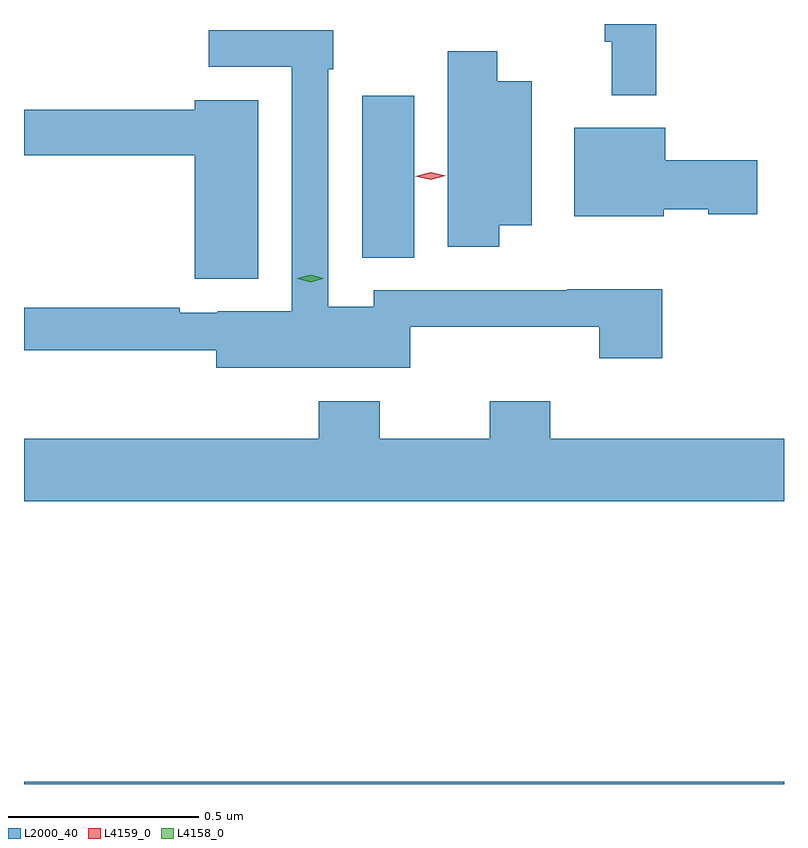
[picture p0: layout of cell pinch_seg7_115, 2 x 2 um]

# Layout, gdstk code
import gdstk
lib = gdstk.Library(unit=1e-6, precision=1e-09)
def R(c, l, rs):  # rectangles x0, y0, x1, y1
    for r in rs: c.add(gdstk.rectangle(r[:2], r[2:], *l))
def P(c, l, *ps):  # polygons
    for p in ps: c.add(gdstk.Polygon(p, *l))
L2000_40 = (2000, 40)
L4158_0 = (4158, 0)
L4159_0 = (4159, 0)

pinch_seg7_115 = lib.new_cell('pinch_seg7_115')
R(pinch_seg7_115, L2000_40, [(923.043,999.872,925.043,999.878), (923.933,1001.257,924.07,1001.683)])
P(pinch_seg7_115, L2000_40, [(924.707,1001.872),(924.571,1001.872),(924.571,1001.825),(924.59,1001.825),(924.59,1001.685),(924.707,1001.685)],
  [(924.06,1001.075),(924.557,1001.075),(924.557,1000.992),(924.722,1000.992),(924.722,1001.174),(924.473,1001.174),(924.473,1001.172),(923.964,1001.172),(923.964,1001.128),(923.844,1001.128),(923.844,1001.753),(923.857,1001.753),(923.857,1001.856),(923.529,1001.856),(923.529,1001.76),(923.748,1001.76),(923.748,1001.116),(923.553,1001.116),(923.553,1001.112),(923.453,1001.112),(923.453,1001.125),(923.043,1001.125),(923.043,1001.014),(923.549,1001.014),(923.549,1000.967),(924.06,1000.967)],
  [(924.293,1001.342),(924.379,1001.342),(924.379,1001.722),(924.288,1001.722),(924.288,1001.8),(924.158,1001.8),(924.158,1001.286),(924.293,1001.286)],
  [(923.659,1001.671),(923.492,1001.671),(923.492,1001.647),(923.043,1001.647),(923.043,1001.526),(923.492,1001.526),(923.492,1001.201),(923.659,1001.201)],
  [(924.726,1001.384),(924.843,1001.384),(924.843,1001.372),(924.973,1001.372),(924.973,1001.514),(924.73,1001.514),(924.73,1001.599),(924.491,1001.599),(924.491,1001.366),(924.726,1001.366)],
  [(925.043,1000.78),(924.428,1000.78),(924.428,1000.879),(924.268,1000.879),(924.268,1000.78),(923.979,1000.78),(923.979,1000.879),(923.819,1000.879),(923.819,1000.78),(923.043,1000.78),(923.043,1000.616),(925.043,1000.616)])
P(pinch_seg7_115, L4158_0, [(923.797,1001.192),(923.762,1001.202),(923.762,1001.202),(923.762,1001.203),(923.797,1001.212),(923.831,1001.203),(923.831,1001.202),(923.831,1001.202)])
P(pinch_seg7_115, L4159_0, [(924.113,1001.462),(924.073,1001.471),(924.073,1001.471),(924.073,1001.472),(924.113,1001.482),(924.153,1001.473),(924.153,1001.473),(924.153,1001.473)])

lib.write_gds('pinch_seg7_115.gds')
